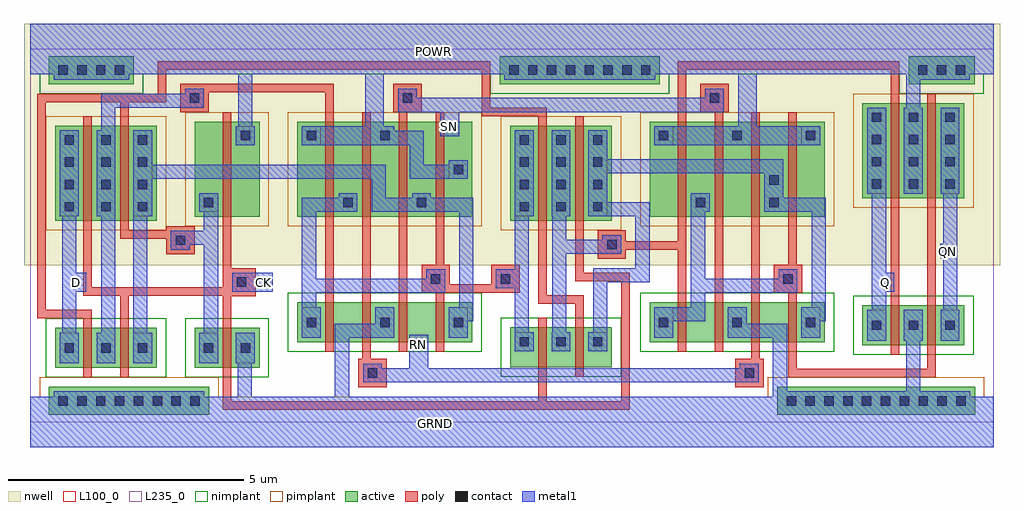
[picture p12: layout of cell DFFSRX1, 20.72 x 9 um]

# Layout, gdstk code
import gdstk
lib = gdstk.Library(unit=1e-6, precision=1e-09)
def R(c, l, rs):  # rectangles x0, y0, x1, y1
    for r in rs: c.add(gdstk.rectangle(r[:2], r[2:], *l))
def A(c, l, x, y, w, h, nx, ny, dx, dy):  # array of equal rectangles
    R(c, l, [(x+i*dx, y+j*dy, x+i*dx+w, y+j*dy+h) for i in range(nx) for j in range(ny)])
def P(c, l, *ps):  # polygons
    for p in ps: c.add(gdstk.Polygon(p, *l))
active = (1, 0)
nwell = (2, 0)
poly = (3, 0)
nimplant = (4, 0)
pimplant = (5, 0)
contact = (6, 0)
metal1 = (7, 0)
L100_0 = (100, 0)
L235_0 = (235, 0)

dffsrx1 = lib.new_cell('DFFSRX1')
A(dffsrx1, active, 0.53, 1.15, 0.6, 0.85, 3, 1, 0.78, 0)
A(dffsrx1, active, 10.19, 1.16, 0.6, 0.85, 3, 1, 0.78, 0)
A(dffsrx1, active, 17.67, 1.63, 0.6, 0.85, 3, 1, 0.78, 0)
A(dffsrx1, active, 5.67, 1.69, 0.6, 0.85, 5, 1, 0.78, 0)
A(dffsrx1, active, 6.27, 1.69, 0.18, 0.85, 4, 1, 0.78, 0)
A(dffsrx1, active, 13.15, 1.69, 0.6, 0.85, 5, 1, 0.78, 0)
A(dffsrx1, active, 13.75, 1.69, 0.18, 0.85, 4, 1, 0.78, 0)
A(dffsrx1, active, 0.53, 4.27, 0.6, 2.02, 3, 1, 0.78, 0)
A(dffsrx1, active, 10.19, 4.27, 0.6, 2.02, 3, 1, 0.78, 0)
A(dffsrx1, active, 5.67, 4.36, 0.6, 2.02, 5, 1, 0.78, 0)
A(dffsrx1, active, 6.27, 4.36, 0.18, 2.02, 4, 1, 0.78, 0)
A(dffsrx1, active, 13.15, 4.36, 0.6, 2.02, 5, 1, 0.78, 0)
A(dffsrx1, active, 13.75, 4.36, 0.18, 2.02, 4, 1, 0.78, 0)
A(dffsrx1, active, 17.67, 4.75, 0.6, 2.02, 3, 1, 0.78, 0)
R(dffsrx1, active, [(0.4,0.15,3.8,0.75), (15.86,0.15,20.06,0.75), (1.13,1.15,1.31,2), (1.91,1.15,2.09,2), (3.49,1.15,4.09,2), (4.09,1.15,4.27,2), (4.27,1.15,4.87,2), (10.79,1.16,10.97,2.01), (11.57,1.16,11.75,2.01), (18.27,1.63,18.45,2.48), (19.05,1.63,19.23,2.48), (1.13,4.27,1.31,6.29), (1.91,4.27,2.09,6.29), (10.79,4.27,10.97,6.29), (11.57,4.27,11.75,6.29), (3.49,4.36,4.09,6.38), (4.09,4.36,4.27,6.38), (4.27,4.36,4.87,6.38), (18.27,4.75,18.45,6.77), (19.05,4.75,19.23,6.77), (0.4,7.17,2.2,7.77), (9.97,7.17,13.37,7.77), (18.65,7.17,20.05,7.77)])
R(dffsrx1, nwell, [(-0.13,3.33,20.59,8.46)])
A(dffsrx1, poly, 6.27, 1.49, 0.18, 1.25, 4, 1, 0.78, 0)
A(dffsrx1, poly, 6.27, 1.49, 0.18, 0.2, 4, 2, 0.78, 1.05)
A(dffsrx1, poly, 13.75, 1.49, 0.18, 1.25, 4, 1, 0.78, 0)
A(dffsrx1, poly, 13.75, 1.49, 0.18, 0.2, 4, 2, 0.78, 1.05)
A(dffsrx1, poly, 6.27, 4.16, 0.18, 0.2, 4, 2, 0.78, 2.22)
A(dffsrx1, poly, 6.27, 4.16, 0.18, 2.42, 4, 1, 0.78, 0)
A(dffsrx1, poly, 13.75, 4.16, 0.18, 0.2, 4, 2, 0.78, 2.22)
A(dffsrx1, poly, 13.75, 4.16, 0.18, 2.42, 4, 1, 0.78, 0)
R(dffsrx1, poly, [(1.13,0.95,1.31,2.2), (1.13,0.95,1.31,1.15), (1.91,0.95,2.09,2.2), (1.91,0.95,2.09,1.15), (4.09,0.95,4.27,2.2), (4.09,0.95,4.27,1.15), (10.79,0.96,10.97,2.21), (10.79,0.96,10.97,1.16), (11.57,0.96,11.75,2.21), (11.57,0.96,11.75,1.16), (18.27,1.43,18.45,2.68), (18.27,1.43,18.45,1.63), (19.05,1.43,19.23,2.68), (19.05,1.43,19.23,1.63), (1.13,2,1.31,2.2), (1.91,2,2.09,2.2), (4.09,2,4.27,2.2), (10.79,2.01,10.97,2.21), (11.57,2.01,11.75,2.21), (18.27,2.48,18.45,2.68), (19.05,2.48,19.23,2.68), (1.13,4.07,1.31,4.27), (1.13,4.07,1.31,6.49), (1.91,4.07,2.09,4.27), (1.91,4.07,2.09,6.49), (10.79,4.07,10.97,4.27), (10.79,4.07,10.97,6.49), (11.57,4.07,11.75,4.27), (11.57,4.07,11.75,6.49), (4.09,4.16,4.27,4.36), (4.09,4.16,4.27,6.58), (18.27,4.55,18.45,4.75), (18.27,4.55,18.45,6.97), (19.05,4.55,19.23,4.75), (19.05,4.55,19.23,6.97), (1.13,6.29,1.31,6.49), (1.91,6.29,2.09,6.49), (10.79,6.29,10.97,6.49), (11.57,6.29,11.75,6.49), (4.09,6.38,4.27,6.58), (7.71,6.58,8.31,7.18), (14.23,6.58,14.83,7.18), (18.27,6.77,18.45,6.97), (19.05,6.77,19.23,6.97)])
P(dffsrx1, poly, [(3.49,4.16),(2.89,4.16),(2.89,4.07),(1.91,4.07),(1.91,3.89),(2.89,3.89),(2.89,3.56),(3.49,3.56)],
  [(6.45,7.18),(3.19,7.18),(3.19,6.58),(3.79,6.58),(3.79,7),(6.27,7),(6.27,6.58),(6.45,6.58)],
  [(7.57,1.34),(7.23,1.34),(7.23,1.49),(7.05,1.49),(7.05,1.34),(6.97,1.34),(6.97,0.74),(7.57,0.74)],
  [(12.73,3.17),(11.75,3.17),(11.75,4.07),(11.57,4.07),(11.57,2.99),(12.55,2.99),(12.55,0.44),(10.97,0.44),(10.97,0.97),(10.79,0.97),(10.79,0.44),(4.27,0.44),(4.27,0.95),(4.09,0.95),(4.09,0.26),(12.73,0.26)],
  [(10.39,3.34),(9.79,3.34),(9.79,2.92),(8.91,2.92),(8.91,3.34),(8.79,3.34),(8.79,4.16),(8.61,4.16),(8.61,3.34),(8.31,3.34),(8.31,2.74),(8.61,2.74),(8.61,2.58),(8.79,2.58),(8.79,2.74),(10.39,2.74)],
  [(13.93,4.17),(13.75,4.17),(13.75,3.84),(12.65,3.84),(12.65,4.07),(12.05,4.07),(12.05,3.47),(12.65,3.47),(12.65,3.66),(13.75,3.66),(13.75,2.74),(13.93,2.74)],
  [(15.57,1.34),(15.49,1.34),(15.49,1.49),(15.31,1.49),(15.31,1.34),(14.97,1.34),(14.97,0.74),(15.57,0.74)],
  [(10.97,6.67),(9.77,6.67),(9.77,7.66),(2.71,7.66),(2.71,6.97),(0.15,6.97),(0.15,2.2),(1.31,2.2),(1.31,2.38),(0.33,2.38),(0.33,6.79),(1.91,6.79),(1.91,6.49),(2.09,6.49),(2.09,6.79),(2.89,6.79),(2.89,7.48),(9.59,7.48),(9.59,6.49),(10.97,6.49)],
  [(16.39,3.34),(16.27,3.34),(16.27,4.17),(16.09,4.17),(16.09,3.34),(15.79,3.34),(15.79,2.74),(16.39,2.74)],
  [(4.79,3.27),(4.27,3.27),(4.27,4.16),(4.09,4.16),(4.09,2.86),(1.31,2.86),(1.31,4.07),(1.13,4.07),(1.13,2.68),(1.91,2.68),(1.91,2.19),(2.09,2.19),(2.09,2.68),(4.09,2.68),(4.09,2.19),(4.27,2.19),(4.27,2.67),(4.79,2.67)])
R(dffsrx1, nimplant, [(0.33,0.95,2.89,2.2), (3.29,0.95,5.07,2.2), (9.99,0.96,12.55,2.21), (17.47,1.43,20.03,2.68), (5.47,1.49,9.59,2.74), (12.95,1.49,17.07,2.74)])
P(dffsrx1, nimplant, [(20.46,8.46),(0,8.46),(0,7.38),(0.2,7.38),(0.2,6.97),(2.4,6.97),(2.4,7.38),(9.77,7.38),(9.77,6.97),(13.57,6.97),(13.57,7.38),(18.45,7.38),(18.45,6.97),(20.25,6.97),(20.25,7.38),(20.46,7.38)])
R(dffsrx1, pimplant, [(0.33,4.07,2.89,6.49), (9.99,4.07,12.55,6.49), (3.29,4.16,5.07,6.58), (5.47,4.16,9.59,6.58), (12.95,4.16,17.07,6.58), (17.47,4.55,20.03,6.97)])
P(dffsrx1, pimplant, [(20.46,0.54),(20.26,0.54),(20.26,0.95),(15.66,0.95),(15.66,0.54),(4,0.54),(4,0.95),(0.2,0.95),(0.2,0.54),(0,0.54),(0,-0.54),(20.46,-0.54)])
A(dffsrx1, contact, 0.6, 0.35, 0.2, 0.2, 8, 1, 0.4, 0)
A(dffsrx1, contact, 16.06, 0.35, 0.2, 0.2, 10, 1, 0.4, 0)
A(dffsrx1, contact, 0.73, 1.475, 0.2, 0.2, 3, 2, 0.78, 2.995)
A(dffsrx1, contact, 10.39, 1.605, 0.2, 0.2, 3, 2, 0.78, 2.865)
A(dffsrx1, contact, 17.87, 1.955, 0.2, 0.2, 3, 2, 0.78, 2.995)
A(dffsrx1, contact, 5.87, 2.015, 0.2, 0.2, 3, 1, 1.56, 0)
A(dffsrx1, contact, 13.35, 2.015, 0.2, 0.2, 3, 2, 1.56, 3.965)
A(dffsrx1, contact, 0.73, 4.945, 0.2, 0.2, 3, 2, 0.78, 0.475)
A(dffsrx1, contact, 10.39, 4.945, 0.2, 0.2, 3, 2, 0.78, 0.475)
A(dffsrx1, contact, 17.87, 5.425, 0.2, 0.2, 3, 2, 0.78, 0.475)
A(dffsrx1, contact, 0.73, 5.89, 0.2, 0.2, 3, 1, 0.78, 0)
A(dffsrx1, contact, 10.39, 5.89, 0.2, 0.2, 3, 1, 0.78, 0)
A(dffsrx1, contact, 17.87, 6.37, 0.2, 0.2, 3, 1, 0.78, 0)
A(dffsrx1, contact, 0.6, 7.37, 0.2, 0.2, 4, 1, 0.4, 0)
A(dffsrx1, contact, 10.17, 7.37, 0.2, 0.2, 8, 1, 0.4, 0)
A(dffsrx1, contact, 18.85, 7.37, 0.2, 0.2, 3, 1, 0.4, 0)
R(dffsrx1, contact, [(7.17,0.94,7.37,1.14), (15.17,0.94,15.37,1.14), (3.69,1.475,3.89,1.675), (4.47,1.475,4.67,1.675), (4.39,2.87,4.59,3.07), (8.51,2.94,8.71,3.14), (9.99,2.94,10.19,3.14), (15.99,2.94,16.19,3.14), (12.25,3.67,12.45,3.87), (3.09,3.76,3.29,3.96), (3.69,4.56,3.89,4.76), (6.65,4.56,6.85,4.76), (8.21,4.56,8.41,4.76), (14.13,4.56,14.33,4.76), (15.69,4.56,15.89,4.76), (15.69,5.035,15.89,5.235), (8.99,5.26,9.19,5.46), (4.47,5.98,4.67,6.18), (5.87,5.98,6.07,6.18), (7.43,5.98,7.63,6.18), (3.39,6.78,3.59,6.98), (7.91,6.78,8.11,6.98), (14.43,6.78,14.63,6.98)])
R(dffsrx1, metal1, [(0,-0.54,20.46,0.54), (0.5,0.25,3.7,0.65), (8.1,1.5,8.4,1.8), (0.68,1.9,0.98,4.38), (19.38,2.38,19.68,4.85), (4.29,2.77,5.15,3.17), (0.84,2.82,1.14,3.12), (4.8,2.82,5.1,3.12), (18,2.82,18.3,3.12), (19.32,3.48,19.62,3.78), (8.76,6.12,9.06,6.42), (0.5,7.27,2.1,7.67), (10.07,7.27,13.27,7.67), (0,7.38,20.46,8.46)])
P(dffsrx1, metal1, [(3.69,7.08),(3.29,7.08),(3.29,6.97),(1.51,6.97),(1.51,6.19),(1.81,6.19),(1.81,6.67),(3.69,6.67)],
  [(8.81,3.24),(8.41,3.24),(8.41,3.04),(6.07,3.04),(6.07,4.46),(6.55,4.46),(6.55,4.76),(5.77,4.76),(5.77,2.44),(6.07,2.44),(6.07,2.74),(8.81,2.74)],
  [(9.41,4.76),(8.51,4.76),(8.51,4.46),(9.11,4.46),(9.11,2.44),(8.89,2.44),(8.89,2.14),(9.41,2.14)],
  [(12.55,3.97),(12.15,3.97),(12.15,3.87),(11.38,3.87),(11.38,4.37),(11.08,4.37),(11.08,1.91),(11.38,1.91),(11.38,3.57),(12.55,3.57)],
  [(10.59,4.38),(10.29,4.38),(10.29,3.24),(9.89,3.24),(9.89,2.84),(10.29,2.84),(10.29,1.91),(10.59,1.91)],
  [(3.99,4.46),(3.69,4.46),(3.69,4.06),(2.99,4.06),(2.99,3.66),(3.39,3.66),(3.39,3.76),(3.69,3.76),(3.69,1.9),(3.99,1.9)],
  [(16.89,4.76),(15.99,4.76),(15.99,4.46),(16.59,4.46),(16.59,2.44),(16.37,2.44),(16.37,2.14),(16.89,2.14)],
  [(15.47,1.24),(15.07,1.24),(15.07,1.14),(8.45,1.14),(8.45,1.85),(8.05,1.85),(8.05,1.14),(7.47,1.14),(7.47,1.24),(7.07,1.24),(7.07,0.84),(15.47,0.84)],
  [(19.95,7.67),(18.75,7.67),(18.75,7.38),(18.6,7.38),(18.6,6.67),(18.9,6.67),(18.9,7.27),(19.95,7.27)],
  [(19.96,0.65),(18.9,0.65),(18.9,1.73),(18.6,1.73),(18.6,0.65),(16.07,0.65),(16.07,2.09),(15.21,2.09),(15.21,1.79),(15.77,1.79),(15.77,0.54),(15.96,0.54),(15.96,0.25),(19.96,0.25)],
  [(18.35,3.17),(18.17,3.17),(18.17,4.85),(17.87,4.85),(17.87,2.38),(18.17,2.38),(18.17,2.77),(18.35,2.77)],
  [(16.29,3.24),(15.89,3.24),(15.89,3.04),(14.33,3.04),(14.33,4.46),(14.03,4.46),(14.03,2.44),(13.65,2.44),(13.65,2.14),(14.33,2.14),(14.33,2.74),(16.29,2.74)],
  [(14.73,7.08),(14.33,7.08),(14.33,6.88),(8.21,6.88),(8.21,7.08),(7.81,7.08),(7.81,6.58),(8.71,6.58),(8.71,6.07),(9.11,6.07),(9.11,6.58),(14.73,6.58)])
R(dffsrx1, L100_0, [(0.63,1.25,1.03,1.9), (2.19,1.25,2.59,1.9), (3.59,1.25,3.99,1.9), (4.37,1.25,4.77,1.9), (10.29,1.5,10.69,1.91), (11.85,1.5,12.25,1.91), (17.77,1.73,18.17,2.38), (19.33,1.73,19.73,2.38), (5.77,1.79,6.17,2.44), (8.89,1.79,9.29,2.44), (13.25,1.79,13.65,2.44), (16.37,1.79,16.77,2.44), (0.63,4.37,1.03,6.19), (2.19,4.37,2.59,6.19), (10.29,4.37,10.69,6.19), (11.85,4.37,12.25,6.19), (3.59,4.46,3.99,4.86), (17.77,4.85,18.17,6.67), (19.33,4.85,19.73,6.67), (8.89,5.16,9.29,5.56), (4.37,5.88,4.77,6.28), (5.77,5.88,6.17,6.28), (13.25,5.88,13.65,6.28), (16.37,5.88,16.77,6.28)])
R(dffsrx1, L235_0, [(0,0,20.46,7.92)])
dffsrx1.add(gdstk.FlexPath([(6.36,4.16),(6.36,2.58)], 0.18, ends="flush", simple_path=True, layer=3, datatype=0))  # poly
dffsrx1.add(gdstk.FlexPath([(10.88,4.07),(10.88,2.6),(11.66,2.6),(11.66,2.2)], 0.18, ends="flush", simple_path=True, layer=3, datatype=0))  # poly
dffsrx1.add(gdstk.FlexPath([(7.92,4.16),(7.92,2.59)], 0.18, ends="flush", simple_path=True, layer=3, datatype=0))  # poly
dffsrx1.add(gdstk.FlexPath([(7.14,4.16),(7.14,2.58)], 0.18, ends="flush", simple_path=True, layer=3, datatype=0))  # poly
dffsrx1.add(gdstk.FlexPath([(13.84,6.58),(13.84,7.57),(18.36,7.57),(18.36,6.97)], 0.18, ends="flush", simple_path=True, layer=3, datatype=0))  # poly
dffsrx1.add(gdstk.FlexPath([(14.62,4.17),(14.62,2.74)], 0.18, ends="flush", simple_path=True, layer=3, datatype=0))  # poly
dffsrx1.add(gdstk.FlexPath([(15.4,4.18),(15.4,2.74)], 0.18, ends="flush", simple_path=True, layer=3, datatype=0))  # poly
dffsrx1.add(gdstk.FlexPath([(18.36,4.56),(18.36,2.19)], 0.18, ends="flush", simple_path=True, layer=3, datatype=0))  # poly
dffsrx1.add(gdstk.FlexPath([(19.14,4.55),(19.14,2.19)], 0.18, ends="flush", simple_path=True, layer=3, datatype=0))  # poly
dffsrx1.add(gdstk.FlexPath([(16.18,1.49),(16.18,1.04),(19.14,1.04),(19.14,1.43)], 0.18, ends="flush", simple_path=True, layer=3, datatype=0))  # poly
dffsrx1.add(gdstk.FlexPath([(0.83,4.37),(0.83,6.19)], 0.4, ends="flush", simple_path=True, layer=7, datatype=0))  # metal1
dffsrx1.add(gdstk.FlexPath([(1.61,4.37),(1.61,6.19)], 0.4, ends="flush", simple_path=True, layer=7, datatype=0))  # metal1
dffsrx1.add(gdstk.FlexPath([(2.39,4.37),(2.39,6.19)], 0.4, ends="flush", simple_path=True, layer=7, datatype=0))  # metal1
dffsrx1.add(gdstk.FlexPath([(0.83,1.25),(0.83,1.9)], 0.4, ends="flush", simple_path=True, layer=7, datatype=0))  # metal1
dffsrx1.add(gdstk.FlexPath([(1.61,1.25),(1.61,1.9)], 0.4, ends="flush", simple_path=True, layer=7, datatype=0))  # metal1
dffsrx1.add(gdstk.FlexPath([(2.39,1.25),(2.39,1.9)], 0.4, ends="flush", simple_path=True, layer=7, datatype=0))  # metal1
dffsrx1.add(gdstk.FlexPath([(3.79,1.25),(3.79,1.9)], 0.4, ends="flush", simple_path=True, layer=7, datatype=0))  # metal1
dffsrx1.add(gdstk.FlexPath([(4.57,1.25),(4.57,1.9)], 0.4, ends="flush", simple_path=True, layer=7, datatype=0))  # metal1
dffsrx1.add(gdstk.FlexPath([(10.49,4.37),(10.49,6.19)], 0.4, ends="flush", simple_path=True, layer=7, datatype=0))  # metal1
dffsrx1.add(gdstk.FlexPath([(11.27,4.37),(11.27,6.19)], 0.4, ends="flush", simple_path=True, layer=7, datatype=0))  # metal1
dffsrx1.add(gdstk.FlexPath([(12.05,4.37),(12.05,6.19)], 0.4, ends="flush", simple_path=True, layer=7, datatype=0))  # metal1
dffsrx1.add(gdstk.FlexPath([(4.57,6.28),(4.57,7.38)], 0.3, ends="flush", simple_path=True, layer=7, datatype=0))  # metal1
dffsrx1.add(gdstk.FlexPath([(4.56,1.25),(4.56,0.54)], 0.3, ends="flush", simple_path=True, layer=7, datatype=0))  # metal1
dffsrx1.add(gdstk.FlexPath([(0.84,2.97),(1.19,2.97)], 0.4, ends="flush", simple_path=True, layer=7, datatype=0))  # metal1
dffsrx1.add(gdstk.FlexPath([(1.66,4.37),(1.66,1.9)], 0.3, ends="flush", simple_path=True, layer=7, datatype=0))  # metal1
dffsrx1.add(gdstk.FlexPath([(2.34,4.37),(2.34,1.9)], 0.3, ends="flush", simple_path=True, layer=7, datatype=0))  # metal1
dffsrx1.add(gdstk.FlexPath([(8.31,4.46),(8.31,4.86)], 0.4, ends="flush", simple_path=True, layer=7, datatype=0))  # metal1
dffsrx1.add(gdstk.FlexPath([(9.09,5.16),(9.09,5.56)], 0.4, ends="flush", simple_path=True, layer=7, datatype=0))  # metal1
dffsrx1.add(gdstk.FlexPath([(7.33,1.94),(6.62,1.94),(6.62,0.54)], 0.3, ends="flush", simple_path=True, layer=7, datatype=0))  # metal1
dffsrx1.add(gdstk.FlexPath([(7.53,5.88),(7.53,6.28)], 0.4, ends="flush", simple_path=True, layer=7, datatype=0))  # metal1
dffsrx1.add(gdstk.FlexPath([(6.75,4.46),(6.75,4.86)], 0.4, ends="flush", simple_path=True, layer=7, datatype=0))  # metal1
dffsrx1.add(gdstk.FlexPath([(5.97,5.88),(5.97,6.28)], 0.4, ends="flush", simple_path=True, layer=7, datatype=0))  # metal1
dffsrx1.add(gdstk.FlexPath([(7.53,1.79),(7.53,2.44)], 0.4, ends="flush", simple_path=True, layer=7, datatype=0))  # metal1
dffsrx1.add(gdstk.FlexPath([(9.09,1.79),(9.09,2.44)], 0.4, ends="flush", simple_path=True, layer=7, datatype=0))  # metal1
dffsrx1.add(gdstk.FlexPath([(5.97,1.79),(5.97,2.44)], 0.4, ends="flush", simple_path=True, layer=7, datatype=0))  # metal1
dffsrx1.add(gdstk.FlexPath([(15.79,4.46),(15.79,5.58)], 0.4, ends="flush", simple_path=True, layer=7, datatype=0))  # metal1
dffsrx1.add(gdstk.FlexPath([(6.17,6.08),(7.73,6.08)], 0.4, ends="flush", simple_path=True, layer=7, datatype=0))  # metal1
dffsrx1.add(gdstk.FlexPath([(7.31,6.28),(7.31,7.38)], 0.4, ends="flush", simple_path=True, layer=7, datatype=0))  # metal1
dffsrx1.add(gdstk.FlexPath([(7.73,6.03),(8.21,6.03),(8.21,5.31),(9.29,5.31)], 0.3, ends="flush", simple_path=True, layer=7, datatype=0))  # metal1
dffsrx1.add(gdstk.FlexPath([(4.57,5.88),(4.57,6.28)], 0.4, ends="flush", simple_path=True, layer=7, datatype=0))  # metal1
dffsrx1.add(gdstk.FlexPath([(3.79,4.46),(3.79,4.86)], 0.4, ends="flush", simple_path=True, layer=7, datatype=0))  # metal1
dffsrx1.add(gdstk.FlexPath([(16.57,5.88),(16.57,6.28)], 0.4, ends="flush", simple_path=True, layer=7, datatype=0))  # metal1
dffsrx1.add(gdstk.FlexPath([(15.01,5.88),(15.01,6.28)], 0.4, ends="flush", simple_path=True, layer=7, datatype=0))  # metal1
dffsrx1.add(gdstk.FlexPath([(14.23,4.46),(14.23,4.86)], 0.4, ends="flush", simple_path=True, layer=7, datatype=0))  # metal1
dffsrx1.add(gdstk.FlexPath([(13.45,5.88),(13.45,6.28)], 0.4, ends="flush", simple_path=True, layer=7, datatype=0))  # metal1
dffsrx1.add(gdstk.FlexPath([(13.65,6.08),(16.37,6.08)], 0.4, ends="flush", simple_path=True, layer=7, datatype=0))  # metal1
dffsrx1.add(gdstk.FlexPath([(15.01,1.79),(15.01,2.44)], 0.4, ends="flush", simple_path=True, layer=7, datatype=0))  # metal1
dffsrx1.add(gdstk.FlexPath([(16.57,1.79),(16.57,2.44)], 0.4, ends="flush", simple_path=True, layer=7, datatype=0))  # metal1
dffsrx1.add(gdstk.FlexPath([(13.45,1.79),(13.45,2.44)], 0.4, ends="flush", simple_path=True, layer=7, datatype=0))  # metal1
dffsrx1.add(gdstk.FlexPath([(15.23,6.28),(15.23,7.38)], 0.4, ends="flush", simple_path=True, layer=7, datatype=0))  # metal1
dffsrx1.add(gdstk.FlexPath([(15.59,5.43),(12.24,5.43)], 0.3, ends="flush", simple_path=True, layer=7, datatype=0))  # metal1
dffsrx1.add(gdstk.FlexPath([(17.97,4.85),(17.97,6.67)], 0.4, ends="flush", simple_path=True, layer=7, datatype=0))  # metal1
dffsrx1.add(gdstk.FlexPath([(18.75,4.85),(18.75,6.67)], 0.4, ends="flush", simple_path=True, layer=7, datatype=0))  # metal1
dffsrx1.add(gdstk.FlexPath([(19.53,4.85),(19.53,6.67)], 0.4, ends="flush", simple_path=True, layer=7, datatype=0))  # metal1
dffsrx1.add(gdstk.FlexPath([(12.25,4.52),(13,4.52),(13,3.12),(12.1,3.12),(12.1,1.91)], 0.3, ends="flush", simple_path=True, layer=7, datatype=0))  # metal1
dffsrx1.add(gdstk.FlexPath([(12.05,1.5),(12.05,1.91)], 0.4, ends="flush", simple_path=True, layer=7, datatype=0))  # metal1
dffsrx1.add(gdstk.FlexPath([(11.27,1.5),(11.27,1.91)], 0.4, ends="flush", simple_path=True, layer=7, datatype=0))  # metal1
dffsrx1.add(gdstk.FlexPath([(10.49,1.5),(10.49,1.91)], 0.4, ends="flush", simple_path=True, layer=7, datatype=0))  # metal1
dffsrx1.add(gdstk.FlexPath([(2.59,5.31),(7.4,5.31),(7.4,4.61),(8.11,4.61)], 0.3, ends="flush", simple_path=True, layer=7, datatype=0))  # metal1
dffsrx1.add(gdstk.FlexPath([(19.53,1.73),(19.53,2.38)], 0.4, ends="flush", simple_path=True, layer=7, datatype=0))  # metal1
dffsrx1.add(gdstk.FlexPath([(18.75,1.73),(18.75,2.38)], 0.4, ends="flush", simple_path=True, layer=7, datatype=0))  # metal1
dffsrx1.add(gdstk.FlexPath([(17.97,1.73),(17.97,2.38)], 0.4, ends="flush", simple_path=True, layer=7, datatype=0))  # metal1
dffsrx1.add(gdstk.Label('QN', (19.47,3.63), layer=230, texttype=0))
dffsrx1.add(gdstk.Label('Q', (18.15,2.97), layer=230, texttype=0))
dffsrx1.add(gdstk.Label('SN', (8.91,6.27), layer=230, texttype=0))
dffsrx1.add(gdstk.Label('RN', (8.25,1.65), layer=230, texttype=0))
dffsrx1.add(gdstk.Label('POWR', (8.56,7.87), layer=230, texttype=0))
dffsrx1.add(gdstk.Label('GRND', (8.61,-0.04), layer=230, texttype=0))
dffsrx1.add(gdstk.Label('D', (0.99,2.97), layer=230, texttype=0))
dffsrx1.add(gdstk.Label('CK', (4.95,2.97), layer=230, texttype=0))

lib.write_gds('DFFSRX1.gds')
